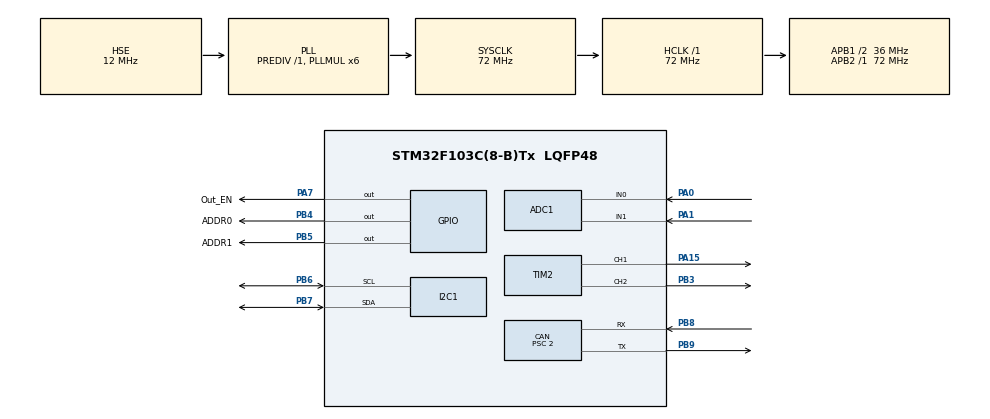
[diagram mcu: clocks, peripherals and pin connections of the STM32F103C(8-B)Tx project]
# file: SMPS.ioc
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ADC1.Channel-0\#ChannelRegularConversion=ADC_CHANNEL_0
ADC1.NbrOfConversionFlag=1
ADC1.Rank-0\#ChannelRegularConversion=1
ADC1.SamplingTime-0\#ChannelRegularConversion=ADC_SAMPLETIME_1CYCLE_5
ADC1.master=1
CAN.BS1=CAN_BS1_14TQ
CAN.BS2=CAN_BS2_3TQ
CAN.CalculateBaudRate=1000000
CAN.CalculateTimeBit=1000
CAN.CalculateTimeQuantum=55.55555555555556
CAN.Prescaler=2
I2C1.I2C_Mode=I2C_Fast
Mcu.Family=STM32F1
Mcu.Name=STM32F103C(8-B)Tx
Mcu.Package=LQFP48
NVIC.PriorityGroup=NVIC_PRIORITYGROUP_4
NVIC.USB_LP_CAN1_RX0_IRQn=true\:0\:0\:false\:false\:true\:true\:true\:true
PA0-WKUP.Signal=ADCx_IN0
PA1.Signal=ADCx_IN1
PA13.Mode=Serial_Wire
PA13.Signal=SYS_JTMS-SWDIO
PA14.Mode=Serial_Wire
PA14.Signal=SYS_JTCK-SWCLK
PA15.Signal=S_TIM2_CH1_ETR
PA7.GPIO_Label=Out_EN
PA7.Signal=GPIO_Output
PB3.Signal=S_TIM2_CH2
PB4.GPIO_Label=ADDR0
PB4.Signal=GPIO_Output
PB5.GPIO_Label=ADDR1
PB5.Signal=GPIO_Output
PB6.Mode=I2C
PB6.Signal=I2C1_SCL
PB7.Mode=I2C
PB7.Signal=I2C1_SDA
PB8.Mode=CAN_Activate
PB8.Signal=CAN_RX
PB9.Mode=CAN_Activate
PB9.Signal=CAN_TX
PD0-OSC_IN.Mode=HSE-External-Oscillator
PD0-OSC_IN.Signal=RCC_OSC_IN
PD1-OSC_OUT.Mode=HSE-External-Oscillator
PD1-OSC_OUT.Signal=RCC_OSC_OUT
ProjectManager.HeapSize=0x200
ProjectManager.StackSize=0x400
ProjectManager.TargetToolchain=Other Toolchains (GPDSC)
RCC.ADCPresc=RCC_ADCPCLK2_DIV6
RCC.AHBFreq_Value=72000000
RCC.APB1CLKDivider=RCC_HCLK_DIV2
RCC.APB1Freq_Value=36000000
RCC.APB1TimFreq_Value=72000000
RCC.APB2Freq_Value=72000000
RCC.APB2TimFreq_Value=72000000
RCC.HCLKFreq_Value=72000000
RCC.HSE_VALUE=12000000
RCC.PLLMUL=RCC_PLL_MUL6
RCC.PLLSourceVirtual=RCC_PLLSOURCE_HSE
RCC.SYSCLKFreq_VALUE=72000000
RCC.SYSCLKSource=RCC_SYSCLKSOURCE_PLLCLK
RCC.USBFreq_Value=72000000
SH.ADCx_IN0.0=ADC1_IN0,IN0
SH.ADCx_IN1.0=ADC1_IN1,IN1
SH.S_TIM2_CH1_ETR.0=TIM2_CH1,PWM Generation1 CH1
SH.S_TIM2_CH2.0=TIM2_CH2,PWM Generation2 CH2
TIM1.Prescaler=72
TIM2.Channel-PWM\ Generation1\ CH1=TIM_CHANNEL_1
TIM2.Channel-PWM\ Generation2\ CH2=TIM_CHANNEL_2
VP_TIM1_VS_ClockSourceINT.Mode=Internal
VP_TIM2_VS_ClockSourceINT.Mode=Internal
board=custom

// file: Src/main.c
/* USER CODE BEGIN Header */
/**
  ******************************************************************************
  * @file           : main.c
  * @brief          : Main program body
  ******************************************************************************
  * @attention
  *
  * <h2><center>&copy; Copyright (c) 2023 STMicroelectronics.
  * All rights reserved.</center></h2>
  *
  * This software component is licensed by ST under BSD 3-Clause license,
  * the "License"; You may not use this file except in compliance with the
  * License. You may obtain a copy of the License at:
  *                        opensource.org/licenses/BSD-3-Clause
  *
  ******************************************************************************
  */
/* USER CODE END Header */
#include "main.h"
#include "adc.h"
#include "can.h"
#include "i2c.h"
#include "tim.h"
#include "gpio.h"

/* USER CODE BEGIN Includes */
#include "modlab.h"
/* USER CODE END Includes */

/* USER CODE BEGIN PD */
#define PWM_VV 2631.578947
#define PWM_2V 4096

#define PWM_IV 12800

#define FACTOR_I 821.176638
#define FACTOR_V 168.2941176

#define ADC_V 0
#define ADC_I 1
/* USER CODE END PD */

/* USER CODE BEGIN PV */
uint16_t address;

uint32_t raw;
uint16_t set_current, set_voltage, get_current, get_voltage;

uint8_t samples = 10;

uint8_t outputState = 0;

// https://controllerstech.com/can-protocol-in-stm32/
CAN_TxHeaderTypeDef TxHeader;
CAN_RxHeaderTypeDef RxHeader;
uint8_t TxData[8];
uint32_t TxMailbox;
uint8_t RxData[8];
uint8_t stat = 0;

/* USER CODE END PV */

void SystemClock_Config(void);
/* USER CODE BEGIN PFP */

uint16_t ADC_read (uint8_t channel);
void set_v(uint16_t millivolt);
void set_i(uint16_t milliamp);

/* USER CODE END PFP */

int main(void)
{

  /* MCU Configuration--------------------------------------------------------*/

  /* Reset of all peripherals, Initializes the Flash interface and the Systick. */
  HAL_Init();

  /* Configure the system clock */
  SystemClock_Config();

  /* Initialize all configured peripherals */
  MX_GPIO_Init();
  MX_ADC1_Init();
  MX_CAN_Init();
  MX_I2C1_Init();
  MX_TIM1_Init();
  MX_TIM2_Init();
  /* USER CODE BEGIN 2 */
  timer_init();

  HAL_CAN_Start(&hcan);

  // get address
  address = ADDR_SMPS | (HAL_GPIO_ReadPin(GPIOB, GPIO_PIN_5)) | (HAL_GPIO_ReadPin(GPIOB, GPIO_PIN_4) << 1);

  // calibrate AD convertor
  while (HAL_ADCEx_Calibration_Start(&hadc1) != HAL_OK);

  HAL_TIM_PWM_Start(&htim2, TIM_CHANNEL_1); // Volt
  HAL_TIM_PWM_Start(&htim2, TIM_CHANNEL_2); // Amp

  CAN_Filter(address);
  HAL_CAN_ActivateNotification(&hcan, CAN_IT_RX_FIFO0_MSG_PENDING);
  __enable_irq();

  set_v(0);
  set_i(0);

  HAL_GPIO_WritePin(Out_EN_GPIO_Port, Out_EN_Pin, 0);

  /* USER CODE END 2 */

  /* Infinite loop */
  /* USER CODE BEGIN WHILE */
  while (1)
  {
    HAL_GPIO_WritePin(Out_EN_GPIO_Port, Out_EN_Pin, outputState);
    set_v(set_voltage*10);
    set_i(set_current*10);
    HAL_Delay(1);
    get_voltage = ADC_read(ADC_V);
    get_current = ADC_read(ADC_I);
    /* USER CODE END WHILE */

  }
}

void SystemClock_Config(void)
{
  RCC_OscInitTypeDef RCC_OscInitStruct = {0};
  RCC_ClkInitTypeDef RCC_ClkInitStruct = {0};
  RCC_PeriphCLKInitTypeDef PeriphClkInit = {0};

  /** Initializes the RCC Oscillators according to the specified parameters
  * in the RCC_OscInitTypeDef structure.
  */
  RCC_OscInitStruct.OscillatorType = RCC_OSCILLATORTYPE_HSE;
  RCC_OscInitStruct.HSEState = RCC_HSE_ON;
  RCC_OscInitStruct.HSEPredivValue = RCC_HSE_PREDIV_DIV1;
  RCC_OscInitStruct.HSIState = RCC_HSI_ON;
  RCC_OscInitStruct.PLL.PLLState = RCC_PLL_ON;
  RCC_OscInitStruct.PLL.PLLSource = RCC_PLLSOURCE_HSE;
  RCC_OscInitStruct.PLL.PLLMUL = RCC_PLL_MUL6;
  if (HAL_RCC_OscConfig(&RCC_OscInitStruct) != HAL_OK)
  {
    Error_Handler();
  }
  /** Initializes the CPU, AHB and APB buses clocks
  */
  RCC_ClkInitStruct.ClockType = RCC_CLOCKTYPE_HCLK|RCC_CLOCKTYPE_SYSCLK
                              |RCC_CLOCKTYPE_PCLK1|RCC_CLOCKTYPE_PCLK2;
  RCC_ClkInitStruct.SYSCLKSource = RCC_SYSCLKSOURCE_PLLCLK;
  RCC_ClkInitStruct.AHBCLKDivider = RCC_SYSCLK_DIV1;
  RCC_ClkInitStruct.APB1CLKDivider = RCC_HCLK_DIV2;
  RCC_ClkInitStruct.APB2CLKDivider = RCC_HCLK_DIV1;

  if (HAL_RCC_ClockConfig(&RCC_ClkInitStruct, FLASH_LATENCY_2) != HAL_OK)
  {
    Error_Handler();
  }
  PeriphClkInit.PeriphClockSelection = RCC_PERIPHCLK_ADC;
  PeriphClkInit.AdcClockSelection = RCC_ADCPCLK2_DIV6;
  if (HAL_RCCEx_PeriphCLKConfig(&PeriphClkInit) != HAL_OK)
  {
    Error_Handler();
  }
}

/* USER CODE BEGIN 4 */

void HAL_CAN_RxFifo0MsgPendingCallback(CAN_HandleTypeDef *hcan)
{
  if (HAL_CAN_GetRxMessage(hcan, CAN_RX_FIFO0, &RxHeader, RxData) != HAL_OK)
  {
    Error_Handler();
  }

  //Send Ping
  if (RxData[0] == CMD_PING)
  {
    send_rec(address, RxData[0], stat);
  }
  else if (RxData[0] == CMD_SET16) // set 16bit
  {
    switch (RxData[1])
    {
    case V_Set:
      set_voltage = (RxData[2] << 8) | RxData[3];
      stat = 0;
      break;
    case I_Set:
      set_current = (RxData[2] << 8) | RxData[3];
      stat = 0;
      break;
    default: // Index Mismatch
      stat = 1;
      break;
    }
    send_rec(address, RxData[0], stat);
  }
  else if (RxData[0] == CMD_GET16) // get 16bit
  {
    switch (RxData[1])
    {
    case V_Get:
      stat = 0;
      send_rec16(address, RxData[0], stat, get_voltage);
      break;
    case I_Get:
      stat = 0;
      send_rec16(address, RxData[0], stat, get_current);
      break;
    default: // Index Mismatch
      stat = 1;
      send_rec(address, RxData[0], stat);
      break;
    }
  }
  else if (RxData[0] == CMD_ENOUT || RxData[0] == CMD_DISOUT) // set Output
  {
    outputState = !(RxData[0] & 0x01);
    stat = 0;
    send_rec(address, RxData[0], stat);
  }
  else // Unknown Command
  {
    stat = 0x40;
    send_rec(address, RxData[0], stat);
  }
}

void CAN_Filter(uint8_t addr)
{
  CAN_FilterTypeDef canfilterconfig;

  canfilterconfig.FilterActivation = CAN_FILTER_ENABLE;
  canfilterconfig.FilterBank = 0; // which filter bank to use from the assigned ones
  canfilterconfig.FilterFIFOAssignment = CAN_FILTER_FIFO0;
  canfilterconfig.FilterIdHigh = (0x500 | addr) << 5;
  canfilterconfig.FilterIdLow = 0;
  canfilterconfig.FilterMaskIdHigh = 0x1FFF;
  canfilterconfig.FilterMaskIdLow = 0xFFFF;
  canfilterconfig.FilterMode = CAN_FILTERMODE_IDMASK;
  canfilterconfig.FilterScale = CAN_FILTERSCALE_32BIT;
  canfilterconfig.SlaveStartFilterBank = 1; // how many filters to assign to the CAN1 (master can)

  HAL_CAN_ConfigFilter(&hcan, &canfilterconfig);
}

void set_v(uint16_t millivolt)
{
  if(millivolt > 22000)
    millivolt = 22000;
  else if(millivolt < 2000)
    millivolt = 2000;

  millivolt -= 2000;

  uint16_t temp_val = PWM_2V + (uint16_t)(((float)millivolt / 1000) * PWM_VV);
  TIM2->CCR2 = temp_val;
}

void set_i(uint16_t milliamp)
{
  if(milliamp > 5000)
    milliamp = 5000;

  uint16_t temp_val = (uint16_t)(((float)milliamp / 1000) * PWM_IV);
  TIM2->CCR1 = temp_val;
}

uint16_t ADC_read (uint8_t channel)
{
  if(channel == ADC_V)
    ADC_Select_CH0();
  else
    ADC_Select_CH1();

  HAL_Delay(1);

  raw = 0;

  for (int i = 0; i < samples; i++)
  {
    delay_us(100);
    HAL_ADC_Start(&hadc1);
    HAL_ADC_PollForConversion(&hadc1, HAL_MAX_DELAY);
    raw += HAL_ADC_GetValue(&hadc1);
  }
  if(channel == ADC_V)
    return ((raw / samples)*100)/FACTOR_V;
    //returns voltage in 10mV increments
  else
    return ((raw / samples)*100)/FACTOR_I;
    //returns current in 10mA increments
}

/* USER CODE END 4 */

void Error_Handler(void)
{
  __disable_irq();
  while (1)
  {
  }
}

/************************ (C) COPYRIGHT STMicroelectronics *****END OF FILE****/
